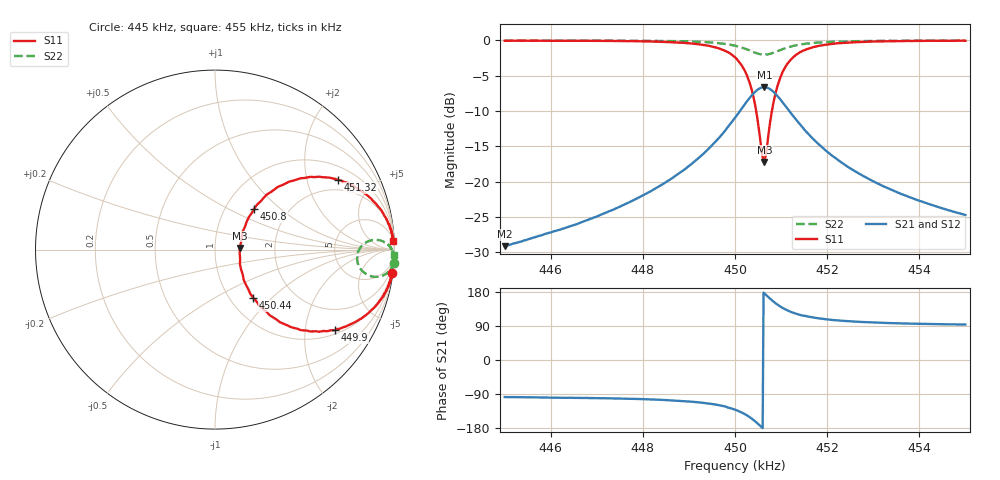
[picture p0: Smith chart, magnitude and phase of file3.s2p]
# HZ S RI R 50
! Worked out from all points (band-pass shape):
!   501 points, 445 kHz to 455 kHz, reference 50 ohm
!   highest |S21| = -6.63 dB at 450.64 kHz (marker M1); lowest = -29.1 dB at 445 kHz (marker M2)
!   |S21| within 3 dB of the highest: 450.1497 kHz to 451.1342 kHz (984.4 Hz wide, 0.218 % of centre)
!   lowest |S11| = -17.2 dB at 450.64 kHz (marker M3), VSWR 1.32, Z = 65.9 + j1.23 ohm
!   |S11| at or under -10 dB: 450.4591 kHz to 450.8007 kHz (341.6 Hz wide, 0.0758 % of centre)
!   |S22| runs from -2.0 to 0.0 dB; largest |S21 - S12| = 0.0047
!   S11 on the Smith chart (normalised r, x): 445 kHz: 1, -15; 449.9 kHz: 1.14, -2.90; 450.44 kHz: 1.28, -0.78; 450.8 kHz: 1.36, +0.69; 451.32 kHz: 1.52, +3.10; 455 kHz: 6, +42
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445000  0.9847 -0.1285  -0.00471 -0.0346  -0.00479 -0.0346  0.9947 -0.0719
446680  0.9795 -0.1625  -0.00915 -0.0508  -0.00913 -0.0509  0.9922 -0.0803
448340  0.9486 -0.2409  -0.0237 -0.0891  -0.0237 -0.0891  0.9867 -0.0995
449320  0.8604 -0.3479  -0.0622 -0.1453  -0.062 -0.1453  0.9641 -0.1256
449640  0.7841 -0.4021  -0.0975 -0.1767  -0.0973 -0.1763  0.9465 -0.1391
449900  0.6708 -0.4468  -0.1548 -0.2048  -0.154 -0.2041  0.9207 -0.1483
450000  0.6082 -0.4531  -0.1861 -0.2134  -0.185 -0.2128  0.9048 -0.1507
450260  0.3829 -0.4137  -0.3076 -0.2064  -0.3053 -0.2066  0.8511 -0.1406
450360  0.2873 -0.3466  -0.3669 -0.176  -0.3643 -0.1773  0.8274 -0.1252
450440  0.2143 -0.2696  -0.4123 -0.1331  -0.4108 -0.1366  0.8109 -0.1075
450580  0.1389 -0.0815  -0.463 -0.0206  -0.463 -0.0253  0.7929 -0.0625
450620  0.1375 -0.0212  -0.4658 0.017  -0.4661 0.0127  0.7929 -0.0482
450640  0.1373 0.00919  -0.4648 0.0361  -0.4654 0.0317  0.7925 -0.0411
450680  0.149 0.0686  -0.4587 0.0731  -0.46 0.0691  0.7959 -0.0272
450800  0.2183 0.2275  -0.409 0.1679  -0.4125 0.1651  0.8102 0.0106
450900  0.3129 0.3214  -0.3488 0.2177  -0.3526 0.2164  0.8317 0.0342
451020  0.4372 0.3844  -0.2763 0.2451  -0.2791 0.245  0.8613 0.0492
451320  0.6842 0.3881  -0.1475 0.2334  -0.149 0.2343  0.9213 0.0518
451680  0.8346 0.3126  -0.0779 0.1873  -0.0785 0.1881  0.9575 0.0339
452240  0.9305 0.2144  -0.0352 0.1373  -0.0351 0.1378  0.9808 0.00957
453340  0.9798 0.1115  -0.0117 0.0884  -0.0116 0.0886  0.9934 -0.0153
455000  0.9922 0.0464  -0.0036 0.058  -0.0034 0.058  0.9953 -0.0311
